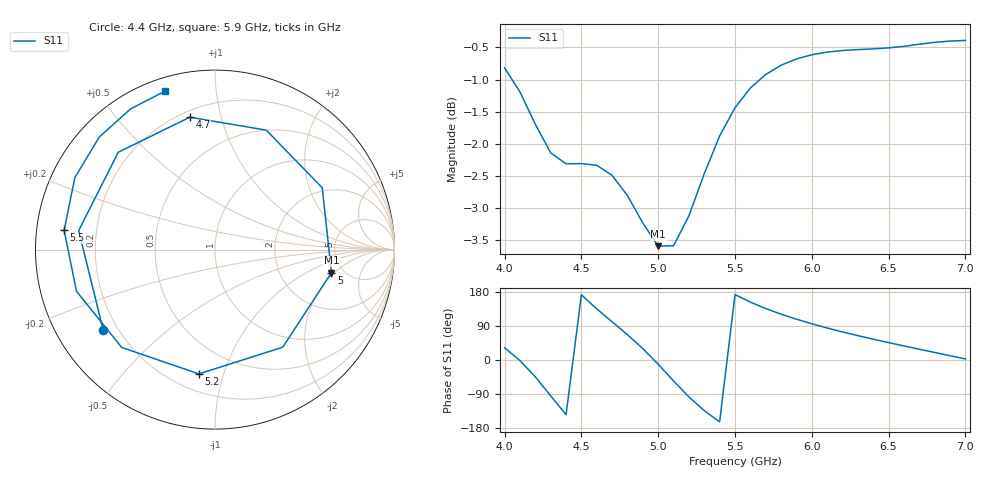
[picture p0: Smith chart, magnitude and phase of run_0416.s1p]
! Touchstone file exported from HFSS 2024.2.0
!  File:  C:/Users/wsak9/Desktop/Sim Fast/Widenad Patch/WP_AI_V1_sweep.aedt
!  Generated:  08:58:40 AM Oct 14, 2026
!  Design:  A1_model
!  Project:  WP_AI_V1_sweep
!  Setup:  Setup1
!  Solution:  Sweep
! Variables:
!  Air_gap = 1.66mm
!  Curve_Amp1 = 1.08
!  Curve_len1 = 1
!  Curve_pos = 12.41mm
!  Extra = 3.06mm
!  H_sub = 0.79mm
!  L_Patch = 20.82mm
!  L_Patch1 = 12.71mm
!  Sx = 1.52mm
!  Sy = 0.56mm
!  WS = 0.3mm
!  W_Patch = 10.61mm
!  W_Patch1 = 9.65mm
!Data is not renormalized
# GHz S MA
! Terminal data exported
! Port[1] = 1
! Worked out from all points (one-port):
!   31 points, 4 GHz to 7 GHz, reference per port
!   lowest |S11| = -3.6 dB at 5 GHz (marker M1), VSWR 4.91
!   |S11| at or under -10 dB: nowhere
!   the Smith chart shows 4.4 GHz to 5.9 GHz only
!   S11 on the Smith chart (normalised r, x): 4.4 GHz: 0.15, -0.31; 4.7 GHz: 0.24, +0.80; 5 GHz: 4.03, -1.84; 5.2 GHz: 0.31, -0.83; 5.5 GHz: 0.08, +0.06; 5.9 GHz: 0.06, +0.73
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4  0.9102 32.2
4.1  0.8718 -1.6
4.2  0.8228 -44.6
4.3  0.7818 -94.6
4.4  0.7665 -144.4
4.5  0.7669 172.1
4.6  0.7646 134.8
4.7  0.7508 100.8
4.8  0.7242 66.8
4.9  0.6895 30.0
5  0.6616 -11.2
5.1  0.662 -55.3
5.2  0.6984 -97.4
5.3  0.7532 -133.7
5.4  0.8058 -163.2
5.5  0.8475 172.7
5.6  0.8779 152.8
5.7  0.8995 135.8
5.8  0.9145 120.9
5.9  0.9248 107.7
6  0.9318 95.6
6.1  0.9362 84.5
6.2  0.9388 74.1
6.3  0.9404 64.2
6.5  0.9433 45.9
6.7  0.9494 28.5
6.9  0.9548 11.4
7  0.9559 2.8
